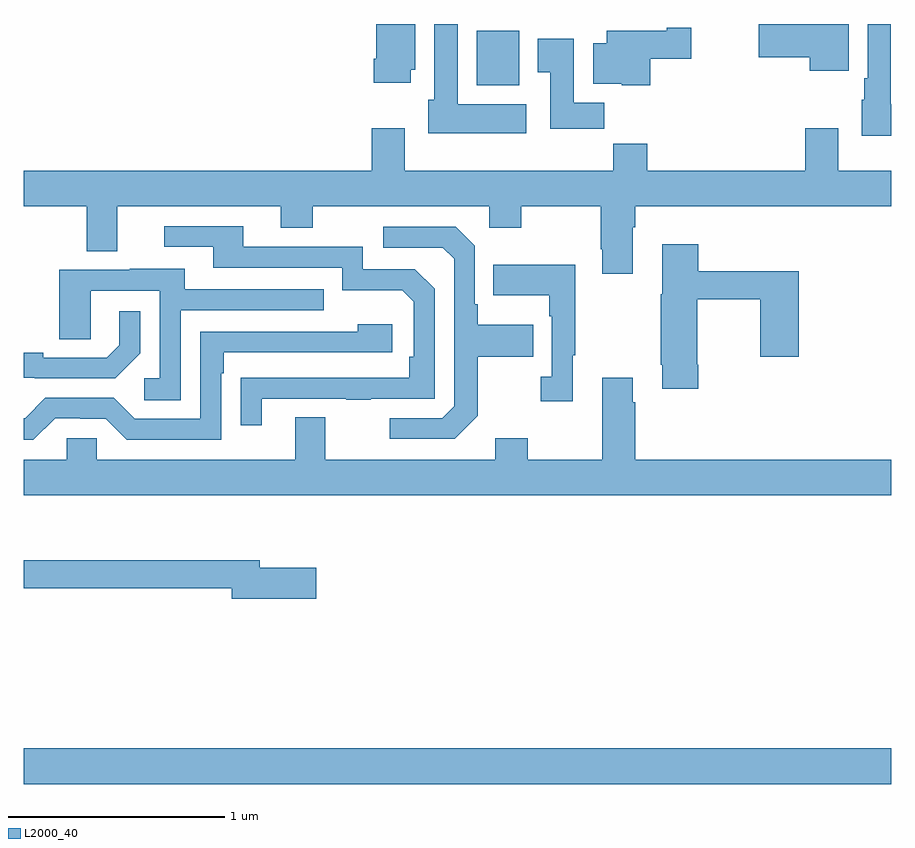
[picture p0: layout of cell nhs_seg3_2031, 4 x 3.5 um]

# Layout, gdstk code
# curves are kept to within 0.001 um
import gdstk
lib = gdstk.Library(unit=1e-6, precision=1e-09)
def R(c, l, rs):  # rectangles x0, y0, x1, y1
    for r in rs: c.add(gdstk.rectangle(r[:2], r[2:], *l))
def P(c, l, *ps):  # polygons
    for p in ps: c.add(gdstk.Polygon(p, *l))
L2000_40 = (2000, 40)

nhs_seg3_2031 = lib.new_cell('nhs_seg3_2031')
R(nhs_seg3_2031, L2000_40, [(215,720.896,219,721.06), (217.089,724.118,217.285,724.368)])
P(nhs_seg3_2031, L2000_40, [(218.803,724.4),(218.39,724.4),(218.39,724.247),(218.624,724.247),(218.624,724.184),(218.803,724.184)],
  [(217.318,724.03),(217,724.03),(217,724.4),(216.893,724.4),(216.893,724.05),(216.866,724.05),(216.866,723.896),(217.318,723.896)],
  [(216.784,724.188),(216.805,724.188),(216.805,724.4),(216.626,724.4),(216.626,724.24),(216.614,724.24),(216.614,724.128),(216.784,724.128)],
  [(219,724.03),(218.998,724.03),(218.998,724.4),(218.891,724.4),(218.891,724.15),(218.876,724.15),(218.876,724.05),(218.864,724.05),(218.864,723.884),(219,723.884)],
  [(217.889,724.24),(218.077,724.24),(218.077,724.382),(217.964,724.382),(217.964,724.369),(217.688,724.369),(217.688,724.312),(217.625,724.312),(217.625,724.124),(217.758,724.124),(217.758,724.118),(217.889,724.118)],
  [(217.676,724.036),(217.537,724.036),(217.537,724.333),(217.37,724.333),(217.37,724.177),(217.427,724.177),(217.427,723.918),(217.676,723.918)],
  [(217.807,723.464),(217.82,723.464),(217.82,723.56),(219,723.56),(219,723.724),(218.755,723.724),(218.755,723.919),(218.603,723.919),(218.603,723.724),(217.874,723.724),(217.874,723.848),(217.717,723.848),(217.717,723.724),(216.757,723.724),(216.757,723.919),(216.605,723.919),(216.605,723.724),(215,723.724),(215,723.56),(215.291,723.56),(215.291,723.352),(215.431,723.352),(215.431,723.56),(216.185,723.56),(216.185,723.461),(216.333,723.461),(216.333,723.56),(217.146,723.56),(217.146,723.461),(217.293,723.461),(217.293,723.56),(217.66,723.56),(217.66,723.361),(217.667,723.361),(217.667,723.249),(217.807,723.249)],
  [(216.097,722.673),(216.487,722.673),(216.487,722.668),(216.599,722.668),(216.599,722.673),(216.894,722.673),(216.894,723.18),(216.804,723.27),(216.564,723.27),(216.564,723.372),(216.013,723.372),(216.013,723.468),(215.649,723.468),(215.649,723.372),(215.873,723.372),(215.873,723.276),(216.468,723.276),(216.468,723.173),(216.745,723.173),(216.798,723.12),(216.798,722.866),(216.778,722.866),(216.778,722.769),(216.001,722.768),(216.001,722.55),(216.097,722.55)],
  [(217.093,722.593),(217.093,722.866),(217.349,722.866),(217.349,723.013),(217.093,723.013),(217.093,723.109),(217.08,723.109),(217.08,723.378),(216.993,723.465),(216.657,723.465),(216.657,723.369),(216.933,723.369),(216.984,723.318),(216.984,722.637),(216.93,722.583),(216.687,722.583),(216.687,722.487),(216.987,722.487)],
  [(218.111,722.83),(218.106,722.83),(218.106,723.13),(218.395,723.13),(218.395,722.865),(218.573,722.865),(218.573,723.259),(218.111,723.259),(218.111,723.385),(217.943,723.385),(217.943,723.153),(217.936,723.153),(217.936,722.83),(217.943,722.83),(217.943,722.718),(218.111,722.718)],
  [(217.531,722.873),(217.543,722.873),(217.543,723.289),(217.165,723.289),(217.165,723.149),(217.422,723.149),(217.422,723.053),(217.434,723.053),(217.434,722.774),(217.383,722.774),(217.383,722.661),(217.531,722.661)],
  [(215.724,723.081),(216.383,723.081),(216.383,723.177),(215.743,723.177),(215.743,723.271),(215.489,723.271),(215.489,723.267),(215.165,723.267),(215.165,722.947),(215.31,722.947),(215.31,723.171),(215.628,723.171),(215.628,722.766),(215.556,722.766),(215.556,722.665),(215.724,722.665)],
  [(215.538,722.882),(215.538,723.076),(215.441,723.076),(215.441,722.919),(215.384,722.862),(215.089,722.862),(215.089,722.885),(215,722.885),(215,722.769),(215.05,722.769),(215.05,722.766),(215.422,722.766)],
  [(215.145,722.583),(215.261,722.583),(215.261,722.58),(215.379,722.58),(215.475,722.484),(215.91,722.484),(215.91,722.789),(215.923,722.789),(215.923,722.886),(216.7,722.886),(216.7,723.016),(216.539,723.016),(216.539,722.982),(215.814,722.982),(215.814,722.58),(215.511,722.58),(215.415,722.676),(215.1,722.676),(215.007,722.583),(215,722.583),(215,722.483),(215.045,722.483)],
  [(219,722.392),(217.82,722.392),(217.82,722.657),(217.807,722.657),(217.807,722.77),(217.667,722.77),(217.667,722.392),(217.323,722.392),(217.323,722.491),(217.175,722.491),(217.175,722.392),(216.391,722.392),(216.391,722.587),(216.251,722.587),(216.251,722.392),(215.337,722.392),(215.337,722.49),(215.199,722.49),(215.199,722.392),(215,722.392),(215,722.228),(219,722.228)],
  [(216.349,721.893),(216.088,721.893),(216.088,721.927),(215,721.927),(215,721.798),(215.96,721.798),(215.96,721.751),(216.349,721.751)])

lib.write_gds('nhs_seg3_2031.gds')
